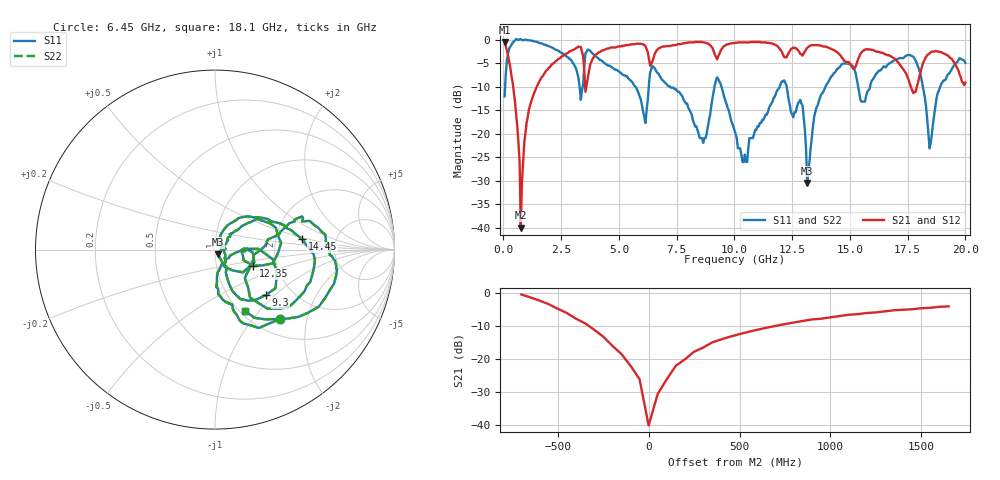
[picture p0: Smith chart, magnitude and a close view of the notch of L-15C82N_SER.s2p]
# MHZ S MA R 50
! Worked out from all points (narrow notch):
!   400 points, 50 MHz to 20 GHz, reference 50 ohm
!   highest |S21| = -0.45 dB at 50 MHz (marker M1); lowest = -40.0 dB at 750 MHz (marker M2)
!   notch at M2: 37.6 dB deep, 280 MHz wide at half that depth
!   lowest |S11| = -30.5 dB at 13.15 GHz (marker M3), VSWR 1.06, Z = 51.5 - j2.64 ohm
!   |S11| at or under -10 dB: 7.219 GHz to 9.137 GHz (1.918 GHz wide, 23.5 % of centre); 9.439 GHz to 11.96 GHz (2.522 GHz wide, 23.6 % of centre); 12.26 GHz to 13.94 GHz (1.678 GHz wide, 12.8 % of centre) (the widest 3 of 8)
!   |S22| runs from -30.5 to 0.2 dB; largest |S21 - S12| = 0
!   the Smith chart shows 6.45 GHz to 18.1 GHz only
!   S11 on the Smith chart (normalised r, x): 6.45 GHz: 1.29, -1.39; 9.3 GHz: 1.48, -0.88; 12.35 GHz: 1.50, -0.29; 14.45 GHz: 2.85, +0.43; 18.1 GHz: 1.05, -0.84
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50  0.25 71.9  0.95 -12.8  0.95 -12.8  0.25 71.9
600  1.01 10.6  0.12 -81.3  0.12 -81.3  1.01 10.6
750  1.02 4.7  0.01 -71.2  0.01 -71.2  1.02 4.7
900  1 -1.4  0.08 79.6  0.08 79.6  1 -1.4
1250  0.98 -12.1  0.24 72.1  0.24 72.1  0.98 -12.1
3400  0.29 -25.1  0.75 -7.0  0.75 -7.0  0.29 -25.1
4000  0.67 -57.5  0.7 33.1  0.7 33.1  0.67 -57.5
6150  0.13 -51.7  0.86 -10.4  0.86 -10.4  0.13 -51.7
6450  0.53 -47.0  0.59 11.3  0.59 11.3  0.53 -47.0
6700  0.44 -69.0  0.8 9.1  0.8 9.1  0.44 -69.0
8650  0.08 -41.6  0.94 -16.6  0.94 -16.6  0.08 -41.6
9300  0.38 -41.8  0.67 -11.1  0.67 -11.1  0.38 -41.8
10050  0.1 -58.4  0.93 -16.7  0.93 -16.7  0.1 -58.4
12350  0.23 -23.1  0.73 -27.8  0.73 -27.8  0.23 -23.1
12950  0.2 -39.3  0.68 -32.9  0.68 -32.9  0.2 -39.3
13150  0.03 -58.7  0.82 -29.5  0.82 -29.5  0.03 -58.7
13350  0.09 69.2  0.88 -35.6  0.88 -35.6  0.09 69.2
14450  0.49 6.7  0.74 -56.7  0.74 -56.7  0.49 6.7
16700  0.56 15.4  0.68 -60.9  0.68 -60.9  0.56 15.4
18100  0.38 -64.0  0.5 -16.3  0.5 -16.3  0.38 -64.0
18450  0.07 -42.6  0.72 -33.1  0.72 -33.1  0.07 -42.6
20000  0.57 -44.4  0.35 -48.5  0.35 -48.5  0.57 -44.4
